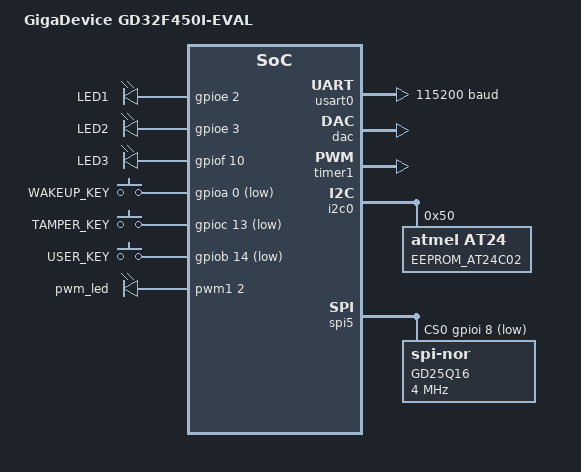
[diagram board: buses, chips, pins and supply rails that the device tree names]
/*
 * Copyright (c) 2021, Teslabs Engineering S.L.
 * SPDX-License-Identifier: Apache-2.0
 */

/dts-v1/;

#include <gigadevice/gd32f4xx/gd32f450ik.dtsi>
#include "gd32f450i_eval-pinctrl.dtsi"

/ {
	model = "GigaDevice GD32F450I-EVAL";
	compatible = "gd,gd32f450i-eval";

	chosen {
		zephyr,sram = &sram0;
		zephyr,flash = &flash0;
		zephyr,console = &usart0;
		zephyr,shell-uart = &usart0;
	};

	leds {
		compatible = "gpio-leds";
		led1: led1 {
			gpios = <&gpioe 2 GPIO_ACTIVE_HIGH>;
			label = "LED1";
		};
		led2: led2 {
			gpios = <&gpioe 3 GPIO_ACTIVE_HIGH>;
			label = "LED2";
		};
		led3: led3 {
			gpios = <&gpiof 10 GPIO_ACTIVE_HIGH>;
			label = "LED3";
		};
	};

	gpio_keys {
		compatible = "gpio-keys";
		wakeup_key: wakeup_key {
			label = "WAKEUP_KEY";
			gpios = <&gpioa 0 GPIO_ACTIVE_LOW>;
		};
		tamper_key: tamper_key {
			label = "TAMPER_KEY";
			gpios = <&gpioc 13 GPIO_ACTIVE_LOW>;
		};
		user_key: user_key {
			label = "USER_KEY";
			gpios = <&gpiob 14 GPIO_ACTIVE_LOW>;
		};
	};

	pwmleds {
		compatible = "pwm-leds";

		/* NOTE: bridge TIMER1_CH2 (PB10) and LED1 (PE2) */
		pwm_led: pwm_led {
			pwms = <&pwm1 2 PWM_MSEC(20) PWM_POLARITY_NORMAL>;
		};
	};

	aliases {
		led0 = &led1;
		led1 = &led2;
		sw0 = &user_key;
		pwm-led0 = &pwm_led;
		eeprom-0 = &eeprom0;
	};
};

&gpioa {
	status = "okay";
};

&gpiob {
	status = "okay";
};

&gpioc {
	status = "okay";
};

&gpioe {
	status = "okay";
};

&gpiof {
	status = "okay";
};

&gpioi {
	status = "okay";
};

&gpiog {
	status = "okay";
};

&usart0 {
	status = "okay";
	current-speed = <115200>;
	pinctrl-0 = <&usart0_default>;
	pinctrl-names = "default";
};

&dac {
	status = "okay";
	pinctrl-0 = <&dac_default>;
	pinctrl-names = "default";
};

&timer1 {
	status = "okay";

	pwm1: pwm {
		status = "okay";
		pinctrl-0 = <&pwm1_default>;
		pinctrl-names = "default";
	};
};

&i2c0 {
	status = "okay";
	pinctrl-0 = <&i2c0_default>;
	pinctrl-names = "default";

	eeprom0: eeprom@50 {
		compatible = "atmel,at24";
		reg = <0x50>;
		status = "okay";
		label = "EEPROM_AT24C02";
		size = <256>;
		pagesize = <8>;
		address-width = <8>;
		timeout = <5>;
	};
};

&spi5 {
	status = "okay";
	pinctrl-0 = <&spi5_default>;
	pinctrl-names = "default";
	cs-gpios = <&gpioi 8 GPIO_ACTIVE_LOW>;

	nor_flash: gd25q16@0 {
		compatible ="jedec,spi-nor";
		size = <0x1000000>;
		label = "GD25Q16";
		reg = <0>;
		spi-max-frequency = <4000000>;
		status = "okay";
		jedec-id = [c8 40 15];
	};
};
